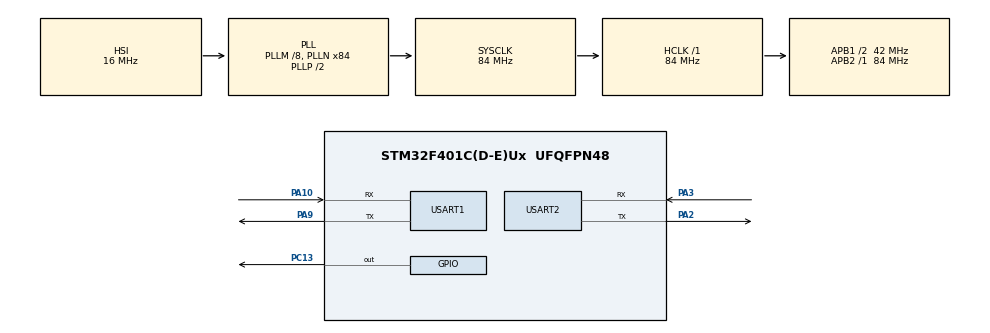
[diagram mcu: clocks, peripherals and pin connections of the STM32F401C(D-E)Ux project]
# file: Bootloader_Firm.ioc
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Mcu.Family=STM32F4
Mcu.Name=STM32F401C(D-E)Ux
Mcu.Package=UFQFPN48
NVIC.PriorityGroup=NVIC_PRIORITYGROUP_4
PA10.Mode=Asynchronous
PA10.Signal=USART1_RX
PA13.Mode=Serial_Wire
PA13.Signal=SYS_JTMS-SWDIO
PA14.Mode=Serial_Wire
PA14.Signal=SYS_JTCK-SWCLK
PA2.Mode=Asynchronous
PA2.Signal=USART2_TX
PA3.Mode=Asynchronous
PA3.Signal=USART2_RX
PA9.Mode=Asynchronous
PA9.Signal=USART1_TX
PC13-ANTI_TAMP.Signal=GPIO_Output
PH0\ -\ OSC_IN.Mode=HSE-External-Oscillator
PH0\ -\ OSC_IN.Signal=RCC_OSC_IN
PH1\ -\ OSC_OUT.Mode=HSE-External-Oscillator
PH1\ -\ OSC_OUT.Signal=RCC_OSC_OUT
ProjectManager.HeapSize=0x200
ProjectManager.StackSize=0x400
ProjectManager.TargetToolchain=STM32CubeIDE
RCC.48MHZClocksFreq_Value=42000000
RCC.AHBFreq_Value=84000000
RCC.APB1CLKDivider=RCC_HCLK_DIV2
RCC.APB1Freq_Value=42000000
RCC.APB1TimFreq_Value=84000000
RCC.APB2Freq_Value=84000000
RCC.APB2TimFreq_Value=84000000
RCC.CortexFreq_Value=84000000
RCC.HCLKFreq_Value=84000000
RCC.HSE_VALUE=25000000
RCC.HSI_VALUE=16000000
RCC.LSE_VALUE=32768
RCC.PLLM=8
RCC.PLLN=84
RCC.SYSCLKFreq_VALUE=84000000
RCC.SYSCLKSource=RCC_SYSCLKSOURCE_PLLCLK
RCC.VCOOutputFreq_Value=168000000
USART1.VirtualMode=VM_ASYNC
USART2.VirtualMode=VM_ASYNC
VP_CRC_VS_CRC.Mode=CRC_Activate
board=custom

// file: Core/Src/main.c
/* USER CODE BEGIN Header */
/**
  ******************************************************************************
  * @file           : main.c
  * @brief          : Main program body
  ******************************************************************************
  * @attention
  *
  * Copyright (c) 2024 STMicroelectronics.
  * All rights reserved.
  *
  * This software is licensed under terms that can be found in the LICENSE file
  * in the root directory of this software component.
  * If no LICENSE file comes with this software, it is provided AS-IS.
  *
  ******************************************************************************
  */
/* USER CODE END Header */
#include "main.h"

/* USER CODE BEGIN Includes */
#include <stdarg.h>
#include <string.h>
#include <stdio.h>
#include <stdint.h>
/* USER CODE END Includes */

/* USER CODE BEGIN PD */
#define BL_DEBUG_MSG_EN
#define APPLICATION_LOCATION 		0x08008000U
#define RX_Length  					200U

#define BOOTLOADER_VERSION          1
#define FW_VERSION					2

#define AC 							0xAA
#define NAC 						0xCC

#define FW_VERSION					0x01U
#define CHIP_ID						0x02U
#define Erase						0x03U

#define VERIFY_CRC_SUCCESS 		    0U

#define VERIFY_CRC_FAIL             1U

/* USER CODE END PD */

CRC_HandleTypeDef hcrc;

UART_HandleTypeDef huart1;
UART_HandleTypeDef huart2;

void SystemClock_Config(void);
static void MX_GPIO_Init(void);
static void MX_CRC_Init(void);
static void MX_USART1_UART_Init(void);
static void MX_USART2_UART_Init(void);
/* USER CODE BEGIN PFP */
static void print(char *format, ...);
static void Application(void);
uint8_t verify_crc(uint8_t *pData, uint32_t len, uint32_t crc_host);
/*
 * function specific to bootloader
 */

void BootLoader_Rx(void);

void send_firmware_and_bl_details(uint8_t* UART_RX_BUFFER);
void send_chipId(uint8_t* UART_RX_BUFFER);
void Erase_Flash(uint8_t* UART_RX_BUFFER);

/* USER CODE END PFP */

/* USER CODE BEGIN 0 */
char uart2[] = "Hello from debug\r\n";
uint8_t UART_RX_BUFFER[RX_Length];
/* USER CODE END 0 */

int main(void)
{

  /* MCU Configuration--------------------------------------------------------*/

  /* Reset of all peripherals, Initializes the Flash interface and the Systick. */
  HAL_Init();

  /* Configure the system clock */
  SystemClock_Config();

  /* Initialize all configured peripherals */
  MX_GPIO_Init();
  MX_CRC_Init();
  MX_USART1_UART_Init();
  MX_USART2_UART_Init();

  /* Infinite loop */
  while (1)
  {

    /* USER CODE BEGIN 3 */
	  print("HELLO");
	  HAL_Delay(1000);
	  int t = 0;
	  while(t<5){
		  HAL_GPIO_TogglePin(GPIOC, GPIO_PIN_13);
		  HAL_Delay(100);
		  t++;
	  }
	  Application();

  }
  /* USER CODE END 3 */
}

void SystemClock_Config(void)
{
  RCC_OscInitTypeDef RCC_OscInitStruct = {0};
  RCC_ClkInitTypeDef RCC_ClkInitStruct = {0};

  /** Configure the main internal regulator output voltage
  */
  __HAL_RCC_PWR_CLK_ENABLE();
  __HAL_PWR_VOLTAGESCALING_CONFIG(PWR_REGULATOR_VOLTAGE_SCALE2);

  /** Initializes the RCC Oscillators according to the specified parameters
  * in the RCC_OscInitTypeDef structure.
  */
  RCC_OscInitStruct.OscillatorType = RCC_OSCILLATORTYPE_HSI;
  RCC_OscInitStruct.HSIState = RCC_HSI_ON;
  RCC_OscInitStruct.HSICalibrationValue = RCC_HSICALIBRATION_DEFAULT;
  RCC_OscInitStruct.PLL.PLLState = RCC_PLL_ON;
  RCC_OscInitStruct.PLL.PLLSource = RCC_PLLSOURCE_HSI;
  RCC_OscInitStruct.PLL.PLLM = 8;
  RCC_OscInitStruct.PLL.PLLN = 84;
  RCC_OscInitStruct.PLL.PLLP = RCC_PLLP_DIV2;
  RCC_OscInitStruct.PLL.PLLQ = 4;
  if (HAL_RCC_OscConfig(&RCC_OscInitStruct) != HAL_OK)
  {
    Error_Handler();
  }

  /** Initializes the CPU, AHB and APB buses clocks
  */
  RCC_ClkInitStruct.ClockType = RCC_CLOCKTYPE_HCLK|RCC_CLOCKTYPE_SYSCLK
                              |RCC_CLOCKTYPE_PCLK1|RCC_CLOCKTYPE_PCLK2;
  RCC_ClkInitStruct.SYSCLKSource = RCC_SYSCLKSOURCE_PLLCLK;
  RCC_ClkInitStruct.AHBCLKDivider = RCC_SYSCLK_DIV1;
  RCC_ClkInitStruct.APB1CLKDivider = RCC_HCLK_DIV2;
  RCC_ClkInitStruct.APB2CLKDivider = RCC_HCLK_DIV1;

  if (HAL_RCC_ClockConfig(&RCC_ClkInitStruct, FLASH_LATENCY_2) != HAL_OK)
  {
    Error_Handler();
  }
}

static void MX_CRC_Init(void)
{

  hcrc.Instance = CRC;
  if (HAL_CRC_Init(&hcrc) != HAL_OK)
  {
    Error_Handler();
  }

}

static void MX_USART1_UART_Init(void)
{

  huart1.Instance = USART1;
  huart1.Init.BaudRate = 115200;
  huart1.Init.WordLength = UART_WORDLENGTH_8B;
  huart1.Init.StopBits = UART_STOPBITS_1;
  huart1.Init.Parity = UART_PARITY_NONE;
  huart1.Init.Mode = UART_MODE_TX_RX;
  huart1.Init.HwFlowCtl = UART_HWCONTROL_NONE;
  huart1.Init.OverSampling = UART_OVERSAMPLING_16;
  if (HAL_UART_Init(&huart1) != HAL_OK)
  {
    Error_Handler();
  }

}

static void MX_USART2_UART_Init(void)
{

  huart2.Instance = USART2;
  huart2.Init.BaudRate = 115200;
  huart2.Init.WordLength = UART_WORDLENGTH_8B;
  huart2.Init.StopBits = UART_STOPBITS_1;
  huart2.Init.Parity = UART_PARITY_NONE;
  huart2.Init.Mode = UART_MODE_TX_RX;
  huart2.Init.HwFlowCtl = UART_HWCONTROL_NONE;
  huart2.Init.OverSampling = UART_OVERSAMPLING_16;
  if (HAL_UART_Init(&huart2) != HAL_OK)
  {
    Error_Handler();
  }

}

static void MX_GPIO_Init(void)
{
  GPIO_InitTypeDef GPIO_InitStruct = {0};

  /* GPIO Ports Clock Enable */
  __HAL_RCC_GPIOC_CLK_ENABLE();
  __HAL_RCC_GPIOH_CLK_ENABLE();
  __HAL_RCC_GPIOA_CLK_ENABLE();

  /*Configure GPIO pin Output Level */
  HAL_GPIO_WritePin(GPIOC, GPIO_PIN_13, GPIO_PIN_RESET);

  /*Configure GPIO pin : PC13 */
  GPIO_InitStruct.Pin = GPIO_PIN_13;
  GPIO_InitStruct.Mode = GPIO_MODE_OUTPUT_PP;
  GPIO_InitStruct.Pull = GPIO_NOPULL;
  GPIO_InitStruct.Speed = GPIO_SPEED_FREQ_LOW;
  HAL_GPIO_Init(GPIOC, &GPIO_InitStruct);

}

/* USER CODE BEGIN 4 */
void print(char *format, ...) {
#ifdef BL_DEBUG_MSG_EN
	char str[80];

	/* Extract the argument list using VA APIs */
	va_list args;
	va_start(args, format);
	vsprintf(str, format, args);
	HAL_UART_Transmit(&huart2, (uint8_t*)str, strlen(str), HAL_MAX_DELAY);
	va_end(args);
#endif
}

void Application(){

	//TODO: dont forget to shift the vector table because it starts from 0x8000_0000 but we want to start it according to our application location

	  void (*pfunc_to_hold_reset_handler_addr)(void);
	  HAL_UART_Transmit(&huart2, (uint8_t*) uart2 , sizeof(uart2), HAL_MAX_DELAY);

	  //we have to transfer value of msp into application area
	  /*
	   * first location is for msp which was 0x8000_0000 and now for application
	   * it will become start addr of application
	   */
		uint32_t msp_value = *(volatile uint32_t*)APPLICATION_LOCATION;
	  __set_MSP(msp_value);

	  /*
	   * Second location will store the reset handler
	   *
	   */
	  uint32_t resethandler_address = *(volatile uint32_t*)(APPLICATION_LOCATION + 4);

	  pfunc_to_hold_reset_handler_addr = (void*)resethandler_address;

	  pfunc_to_hold_reset_handler_addr(); // going to reset handler
}

void BootLoader_Rx(void)
{

	size_t rx_size; // it will always equal to the amount of data we have to recieve
	while(1){
		memset(UART_RX_BUFFER , 0 , 200); // Make everything '0' first

		//read uart

		HAL_UART_Receive(&huart2, UART_RX_BUFFER, 1, HAL_MAX_DELAY); // here we will read the length first
		rx_size = UART_RX_BUFFER[0];
		HAL_UART_Receive(&huart2, &UART_RX_BUFFER[1], rx_size, HAL_MAX_DELAY); // read the remaining bytes!!

		switch(UART_RX_BUFFER[1])
		{
		case FW_VERSION:
			send_firmware_and_bl_details(UART_RX_BUFFER);
			break;
		case CHIP_ID:
			send_chipId(UART_RX_BUFFER);
			break;

		case Erase:
				Erase_Flash(UART_RX_BUFFER);

		default:
			  HAL_UART_Transmit(&huart2, (uint8_t*)"Send appropiate command\r\n" ,25, HAL_MAX_DELAY);
			  break;

		}

	}

}

void send_firmware_and_bl_details(uint8_t* UART_RX_BUFFER)
{
	// check for crc not needed for demontration but still gonna use

	size_t version;
	print("Entered in bootloader mode 1. \n Command recieved 0x01");

	uint32_t command_packet_len = UART_RX_BUFFER[0] + 1;

	print("DOING CHECKSUM");

	uint32_t host_crc = *((uint32_t *) (UART_RX_BUFFER + command_packet_len - 4));

	if(!verify_crc(&UART_RX_BUFFER[0],command_packet_len - 4, host_crc)){

		print("CHECKSUM done ......");
		print("Bootloader version :  ");
		HAL_UART_Transmit(&huart2, (uint8_t*) BOOTLOADER_VERSION , 1, HAL_MAX_DELAY);
		print("Firmware version :  ");
		HAL_UART_Transmit(&huart2, (uint8_t*) FW_VERSION , 1, HAL_MAX_DELAY);
	}
	else{

		HAL_UART_Transmit(&huart2, (uint8_t*) NAC , 1, HAL_MAX_DELAY);

	}

}

void send_chipID(uint8_t* UART_RX_BUFFER){

	//not doing crc
	char chipID[] = "stm32F401ceu6";
	print(chipID);

}

void Erase_Flash(uint8_t* UART_RX_BUFFER)
{

	/*
	 * stm32 sectors :
Sector 0 0x0800 0000 - 0x0800 3FFF 16 Kbytes
Sector 1 0x0800 4000 - 0x0800 7FFF 16 Kbytes
Sector 2 0x0800 8000 - 0x0800 BFFF 16 Kbytes
Sector 3 0x0800 C000 - 0x0800 FFFF 16 Kbytes
Sector 4 0x0801 0000 - 0x0801 FFFF 64 Kbytes
Sector 5 0x0802 0000 - 0x0803 FFFF 128 Kbytes
Sector 6 0x0804 0000 - 0x0805 FFFF 128 Kbytes
Sector 7 0x0806 0000 - 0x0807 FFFF 128 Kbytes
	 */
	FLASH_EraseInitTypeDef  erase_flash; // this is given by hal library

	size_t sector_number; // There are overall 8 sectors -> so for each sector we will choose one number // 2nd byte
	size_t number_of_sector ;// third byte
	size_t sectorError , status;

	sector_number = UART_RX_BUFFER[1];
	sectorError =   UART_RX_BUFFER[2];

	if(sector_number = 8){
		erase_flash.TypeErase = FLASH_TYPEERASE_MASSERASE;
	}
	else {

		erase_flash.TypeErase = FLASH_TYPEERASE_SECTORS;
		erase_flash.Sector =  sector_number;
		erase_flash.NbSectors = number_of_sector;
}

		erase_flash.Banks = FLASH_BANK_1;

		//Gain access to modify the FLASH registers
		HAL_FLASH_Unlock();
		erase_flash.VoltageRange = FLASH_VOLTAGE_RANGE_3;
		/**
		  * @brief  Perform a mass erase or erase the specified FLASH memory sectors
		  * @param[in]  pEraseInit pointer to an FLASH_EraseInitTypeDef structure that
		  *         contains the configuration information for the erasing.
		  *
		  * @param[out]  SectorError pointer to variable  that
		  *         contains the configuration information on faulty sector in case of error
		  *         (0xFFFFFFFFU means that all the sectors have been correctly erased)
		  *
		  * @retval HAL Status
		  */
		status = (uint8_t) HAL_FLASHEx_Erase(&erase_flash, &sectorError);
		HAL_FLASH_Lock();

}

uint8_t verify_crc(uint8_t *pData, uint32_t len, uint32_t crc_host) {

	uint32_t uwCRCValue = 0xFF;

	for(uint32_t i = 0; i < len; i++) {
		uint32_t i_data = pData[i];
		uwCRCValue = HAL_CRC_Accumulate(&hcrc, &i_data, 1);
	}

	/* Reset CRC Calculation Unit */
	__HAL_CRC_DR_RESET(&hcrc);

	if(uwCRCValue == crc_host) {
		return VERIFY_CRC_SUCCESS;
	}

	return VERIFY_CRC_FAIL;
}
/* USER CODE END 4 */

void Error_Handler(void)
{
  __disable_irq();
  while (1)
  {
  }
}
